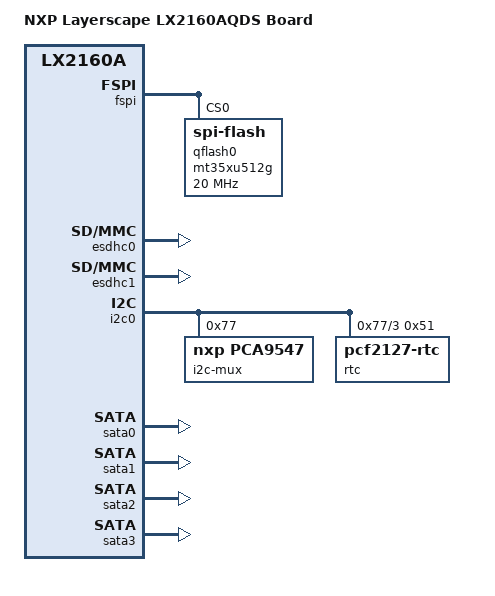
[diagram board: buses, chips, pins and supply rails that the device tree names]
// SPDX-License-Identifier: GPL-2.0+ OR X11
/*
 * NXP LX2160AQDS device tree source
 *
 * Copyright 2018-2019 NXP
 *
 */

/dts-v1/;

#include "fsl-lx2160a.dtsi"

/ {
	model = "NXP Layerscape LX2160AQDS Board";
	compatible = "fsl,lx2160aqds", "fsl,lx2160a";

	aliases {
		spi0 = &fspi;
	};
};

&fspi {
	bus-num = <0>;
	status = "okay";
	fspi-has-second-chip;

	qflash0: mt35xu512g@0 {
		#address-cells = <1>;
		#size-cells = <1>;
		compatible = "spi-flash";
		spi-max-frequency = <20000000>;
		reg = <0>;
		/* The following setting enables 1-1-8 (CMD-ADDR-DATA) mode */
		fspi-rx-bus-width = <8>; /* 8 FSPI Rx lines */
		fspi-tx-bus-width = <1>; /* 1 FSPI Tx line */
	};

	/*
	 * MCR2[SAMEDEVICEEN] bit is enabled in FlexSPI controller for
	 * LX2160ARDB and LX2160AQDS board. Both these has same type of flash
	 * slave devices connected on both A0 and A1.
	 * No need to provide node info for second flash device.
	 */
};

&esdhc0 {
	status = "okay";
};

&esdhc1 {
	status = "okay";
};

&i2c0 {
	status = "okay";
	u-boot,dm-pre-reloc;

	i2c-mux@77 {
		compatible = "nxp,pca9547";
		reg = <0x77>;
		#address-cells = <1>;
		#size-cells = <0>;

		i2c@3 {
			#address-cells = <1>;
			#size-cells = <0>;
			reg = <0x3>;

			rtc@51 {
				compatible = "pcf2127-rtc";
				reg = <0x51>;
			};
		};
	};
};

&sata0 {
	status = "okay";
};

&sata1 {
	status = "okay";
};

&sata2 {
	status = "okay";
};

&sata3 {
	status = "okay";
};
